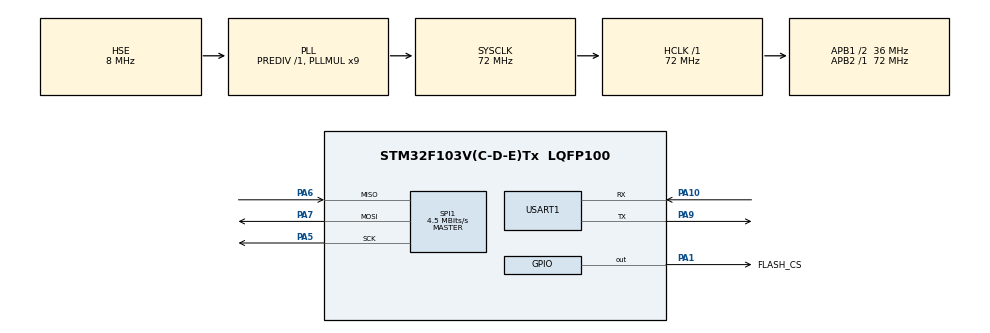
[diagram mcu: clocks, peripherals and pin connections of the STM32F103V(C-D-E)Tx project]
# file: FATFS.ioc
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FATFS._CODE_PAGE=936
FATFS._FS_TINY=1
FATFS._MAX_SS=4096
FATFS._MIN_SS=4096
FATFS._VOLUMES=2
Mcu.Family=STM32F1
Mcu.Name=STM32F103V(C-D-E)Tx
Mcu.Package=LQFP100
NVIC.PriorityGroup=NVIC_PRIORITYGROUP_4
NVIC.USART1_IRQn=true\:0\:0\:false\:false\:true\:true\:true\:true
OSC_IN.Mode=HSE-External-Oscillator
OSC_IN.Signal=RCC_OSC_IN
OSC_OUT.Mode=HSE-External-Oscillator
OSC_OUT.Signal=RCC_OSC_OUT
PA1.GPIO_Label=FLASH_CS
PA1.GPIO_PuPd=GPIO_PULLUP
PA1.GPIO_Speed=GPIO_SPEED_FREQ_HIGH
PA1.PinState=GPIO_PIN_SET
PA1.Signal=GPIO_Output
PA10.Mode=Asynchronous
PA10.Signal=USART1_RX
PA13.Mode=Serial_Wire
PA13.Signal=SYS_JTMS-SWDIO
PA14.Mode=Serial_Wire
PA14.Signal=SYS_JTCK-SWCLK
PA5.Mode=Full_Duplex_Master
PA5.Signal=SPI1_SCK
PA6.Mode=Full_Duplex_Master
PA6.Signal=SPI1_MISO
PA7.Mode=Full_Duplex_Master
PA7.Signal=SPI1_MOSI
PA9.Mode=Asynchronous
PA9.Signal=USART1_TX
PC14-OSC32_IN.Mode=LSE-External-Oscillator
PC14-OSC32_IN.Signal=RCC_OSC32_IN
PC15-OSC32_OUT.Mode=LSE-External-Oscillator
PC15-OSC32_OUT.Signal=RCC_OSC32_OUT
ProjectManager.HeapSize=0x200
ProjectManager.StackSize=0x400
ProjectManager.TargetToolchain=Makefile
RCC.AHBFreq_Value=72000000
RCC.APB1CLKDivider=RCC_HCLK_DIV2
RCC.APB1Freq_Value=36000000
RCC.APB1TimFreq_Value=72000000
RCC.APB2Freq_Value=72000000
RCC.APB2TimFreq_Value=72000000
RCC.HCLKFreq_Value=72000000
RCC.PLLMUL=RCC_PLL_MUL9
RCC.PLLSourceVirtual=RCC_PLLSOURCE_HSE
RCC.SYSCLKFreq_VALUE=72000000
RCC.SYSCLKSource=RCC_SYSCLKSOURCE_PLLCLK
RCC.USBFreq_Value=72000000
SPI1.BaudRatePrescaler=SPI_BAUDRATEPRESCALER_16
SPI1.CalculateBaudRate=4.5 MBits/s
SPI1.Direction=SPI_DIRECTION_2LINES
SPI1.Mode=SPI_MODE_MASTER
SPI1.VirtualType=VM_MASTER
USART1.VirtualMode=VM_ASYNC
VP_FATFS_VS_Generic.Mode=User_defined
board=custom

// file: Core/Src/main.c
/* USER CODE BEGIN Header */
/**
 ******************************************************************************
 * @file           : main.c
 * @brief          : Main program body
 ******************************************************************************
 * @attention
 *
 * Copyright (c) 2024 STMicroelectronics.
 * All rights reserved.
 *
 * This software is licensed under terms that can be found in the LICENSE file
 * in the root directory of this software component.
 * If no LICENSE file comes with this software, it is provided AS-IS.
 *
 ******************************************************************************
 */
/* USER CODE END Header */
#include "main.h"
#include "fatfs.h"
#include "spi.h"
#include "usart.h"
#include "gpio.h"

/* USER CODE BEGIN Includes */
#include "stdio.h"
#include "bsp_spi_flash.h"
/* USER CODE END Includes */

void SystemClock_Config(void);
/* USER CODE BEGIN PFP */
void FATFS_FLASH_Test(void);
#define FLASHBUFFSIZE 64
void SPI_FLASH_Test(void)
{
  uint16_t FLASH_ID;
  uint8_t Flash_Wr_Buff[FLASHBUFFSIZE], Flash_Rd_Buff[FLASHBUFFSIZE];
  printf("SPI总线通信实验，读�??8M外部FLASH W25Q64!\r\n", FLASH_ID);
  FLASH_ID = W25QXX_ReadID(); // 读取W25Q64器件ID
  HAL_Delay(100);
  printf("the FLASH Device ID is 0x%X!\r\n", FLASH_ID);
  // W25Q64 = 8MByte,地址范围�??0x000000-0x7FFFFF
  // Sector：每4KB为一个Sector,8M/4K=2048�??
  // Block：每64KB为一个Block,8M/64K=128个，每个Block包括16个Sector
  SPI_FLASH_SectorErase(0x00); // 擦除第一个Sector
  for (int i = 0; i < FLASHBUFFSIZE; ++i)
    Flash_Wr_Buff[i] = i;
  SPI_FLASH_BufferWrite(Flash_Wr_Buff, 0x00, FLASHBUFFSIZE);
  SPI_FLASH_BufferRead(Flash_Rd_Buff, 0x00, FLASHBUFFSIZE);
  printf("Read data form W25Q64: \r\n");
  for (uint16_t i = 0; i < FLASHBUFFSIZE; i++)
  {
    printf("0x%02x ", Flash_Rd_Buff[i]);
  }
  printf("\r\n");
}
/* USER CODE END PFP */

int main(void)
{

  /* MCU Configuration--------------------------------------------------------*/

  /* Reset of all peripherals, Initializes the Flash interface and the Systick. */
  HAL_Init();

  /* Configure the system clock */
  SystemClock_Config();

  /* Initialize all configured peripherals */
  MX_GPIO_Init();
  MX_SPI1_Init();
  MX_USART1_UART_Init();
  MX_FATFS_Init();
  /* USER CODE BEGIN 2 */
  SPI_FLASH_Test();
  FATFS_FLASH_Test();
  /* USER CODE END 2 */

  /* Infinite loop */
  while (1)
  {

  }
}

void SystemClock_Config(void)
{
  RCC_OscInitTypeDef RCC_OscInitStruct = {0};
  RCC_ClkInitTypeDef RCC_ClkInitStruct = {0};

  /** Initializes the RCC Oscillators according to the specified parameters
   * in the RCC_OscInitTypeDef structure.
   */
  RCC_OscInitStruct.OscillatorType = RCC_OSCILLATORTYPE_HSE;
  RCC_OscInitStruct.HSEState = RCC_HSE_ON;
  RCC_OscInitStruct.HSEPredivValue = RCC_HSE_PREDIV_DIV1;
  RCC_OscInitStruct.HSIState = RCC_HSI_ON;
  RCC_OscInitStruct.PLL.PLLState = RCC_PLL_ON;
  RCC_OscInitStruct.PLL.PLLSource = RCC_PLLSOURCE_HSE;
  RCC_OscInitStruct.PLL.PLLMUL = RCC_PLL_MUL9;
  if (HAL_RCC_OscConfig(&RCC_OscInitStruct) != HAL_OK)
  {
    Error_Handler();
  }

  /** Initializes the CPU, AHB and APB buses clocks
   */
  RCC_ClkInitStruct.ClockType = RCC_CLOCKTYPE_HCLK | RCC_CLOCKTYPE_SYSCLK | RCC_CLOCKTYPE_PCLK1 | RCC_CLOCKTYPE_PCLK2;
  RCC_ClkInitStruct.SYSCLKSource = RCC_SYSCLKSOURCE_PLLCLK;
  RCC_ClkInitStruct.AHBCLKDivider = RCC_SYSCLK_DIV1;
  RCC_ClkInitStruct.APB1CLKDivider = RCC_HCLK_DIV2;
  RCC_ClkInitStruct.APB2CLKDivider = RCC_HCLK_DIV1;

  if (HAL_RCC_ClockConfig(&RCC_ClkInitStruct, FLASH_LATENCY_2) != HAL_OK)
  {
    Error_Handler();
  }
}

/* USER CODE BEGIN 4 */
// FATFS测试
void FATFS_FLASH_Test(void)
{
  FATFS fs;                                                              // 文件系统对象
  static FIL fnew;                                                       // 文件对象
  BYTE FATFS_Wr_Buff[128] = "hello, www.rymcu.com make it easy!have fun.\r\n"; // 写缓冲区
  BYTE FATFS_Rd_Buff[128] = {0};                                         // 读缓冲区
  UINT fnum;                                                             // 成功读写数量
  FRESULT res;                                                           // 返回�?

  printf("\r\n\r\n------------------FLASH FATFS TEST------------------\r\n\r\n");
  res = f_mount(&fs, "0:", 1);
  if (res == FR_NO_FILESYSTEM)
  {
    printf("no files ystem,begin mkfs\r\n");
    res = f_mkfs("0:", 0, 0); // 格式�?
    if (res == FR_OK)
    {
      printf("file system mkfs ok\r\n");
      // 格式化成功后先取消，再重新挂载！
      res = f_mount(NULL, "0:", 1);
      printf("cancel mount ok:%d\r\n", res);
      res = f_mount(&fs, "0:", 1);
      printf("re-mount ok:%d\r\n", res);
    }
    else
    {
      printf("failed mount\r\n");
    }
  }
  printf("\r\n\r\n-------------------FATFS write test-------------------\r\n");
  // 打开文件，文件不存在则创建并打开
  res = f_open(&fnew, "RY.txt", FA_CREATE_ALWAYS | FA_WRITE);
  if (res == FR_OK)
    printf("open or create RY.txt ok.\r\n");
  else
    printf("open or create file failed\r\n");
  // 写测�?
  res = f_write(&fnew, FATFS_Wr_Buff, sizeof(FATFS_Wr_Buff), &fnum);
  if (res == FR_OK)
    printf("write to RY.txt:\r\n%s", FATFS_Wr_Buff);
  else
    printf("failed to write RY.txt,code: %d!\r\n", res);
  // 完成写操作后，关闭文�?
  f_close(&fnew);
  printf("\r\n-------------------FATFS read test-------------------\r\n\r\n");
  // 打开文件，读方式打开已创建的文件
  res = f_open(&fnew, "RY.txt", FA_OPEN_EXISTING | FA_READ);
  if (res != FR_OK)
  {
    printf("open RY.txt failed\r\n");
    return;
  }
  // 读测�?
  res = f_read(&fnew, FATFS_Rd_Buff, sizeof(FATFS_Rd_Buff), &fnum);
  if (res != FR_OK)
  {
    printf("read file failed\r\n");
    return;
  }
  printf("read file data:\r\n%s\r\n", FATFS_Rd_Buff);
  f_close(&fnew); // 读取完毕，关闭文件�?
}

#ifdef __GNUC__
#define PUTCHAR_PROTOTYPE int __io_putchar(int ch)
#else
#define PUTCHAR_PROTOTYPE int fputc(int ch.FILE *f)
#endif /* __GNUC__ */

// 重定向printf函数
PUTCHAR_PROTOTYPE
{
  HAL_UART_Transmit(&huart1, (uint8_t *)&ch, 1, 0xFFFF); // 输出指向串口USART1
  return ch;
}
/* USER CODE END 4 */

void Error_Handler(void)
{
  __disable_irq();
  while (1)
  {
  }
}
